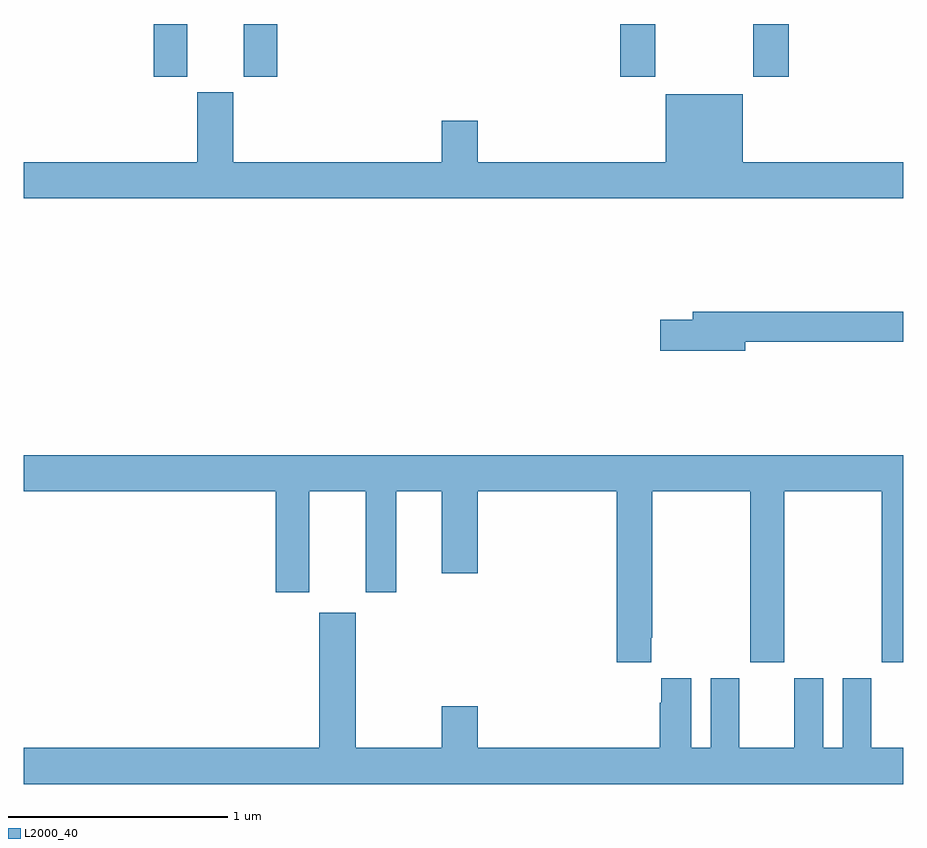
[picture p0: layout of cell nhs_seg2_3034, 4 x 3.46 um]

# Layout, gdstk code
import gdstk
lib = gdstk.Library(unit=1e-6, precision=1e-09)
def R(c, l, rs):  # rectangles x0, y0, x1, y1
    for r in rs: c.add(gdstk.rectangle(r[:2], r[2:], *l))
def P(c, l, *ps):  # polygons
    for p in ps: c.add(gdstk.Polygon(p, *l))
L2000_40 = (2000, 40)

nhs_seg2_3034 = lib.new_cell('nhs_seg2_3034')
R(nhs_seg2_3034, L2000_40, [(271.592,609.561,271.744,609.8), (272,609.561,272.153,609.8), (273.713,609.561,273.873,609.8), (274.318,609.561,274.478,609.8)])
P(nhs_seg2_3034, L2000_40, [(275,609.172),(274.27,609.172),(274.27,609.481),(273.92,609.481),(273.92,609.172),(273.064,609.172),(273.064,609.361),(272.9,609.361),(272.9,609.172),(271.954,609.172),(271.954,609.489),(271.79,609.489),(271.79,609.172),(271,609.172),(271,609.008),(275,609.008)],
  [(274.282,608.356),(275,608.356),(275,608.492),(274.043,608.492),(274.043,608.456),(273.894,608.456),(273.894,608.314),(274.282,608.314)],
  [(273.853,607.009),(273.858,607.009),(273.858,607.676),(274.303,607.676),(274.303,606.897),(274.458,606.897),(274.458,607.676),(274.903,607.676),(274.903,606.897),(275,606.897),(275,607.84),(271,607.84),(271,607.676),(272.147,607.676),(272.147,607.215),(272.299,607.215),(272.299,607.676),(272.555,607.676),(272.555,607.215),(272.695,607.215),(272.695,607.676),(272.9,607.676),(272.9,607.302),(273.064,607.302),(273.064,607.676),(273.698,607.676),(273.698,606.897),(273.853,606.897)],
  [(275,606.508),(274.855,606.508),(274.855,606.826),(274.724,606.826),(274.724,606.508),(274.636,606.508),(274.636,606.826),(274.505,606.826),(274.505,606.508),(274.255,606.508),(274.255,606.826),(274.124,606.826),(274.124,606.508),(274.036,606.508),(274.036,606.826),(273.899,606.826),(273.899,606.713),(273.893,606.713),(273.893,606.508),(273.064,606.508),(273.064,606.697),(272.9,606.697),(272.9,606.508),(272.509,606.508),(272.509,607.123),(272.345,607.123),(272.345,606.508),(271,606.508),(271,606.344),(275,606.344)])

lib.write_gds('nhs_seg2_3034.gds')
